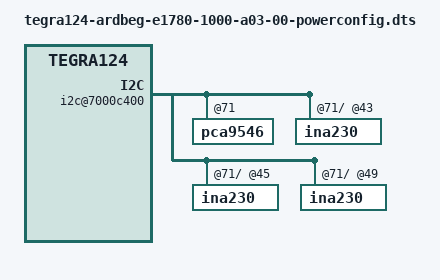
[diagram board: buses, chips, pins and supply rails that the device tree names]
#include "tegra124-ardbeg-e1780-1000-a03-00.dts"

/ {
	nvidia,dtsfilename = __FILE__;

	i2c@7000c400 {
		pca9546@71 {
			i2c@1 {
				ina230@43{
					.resistor = <10>;
				};
				ina230@45{
					.resistor = <10>;
				};
				ina230@49{
					.resistor = <10>;
				};
			};
		};
	};
};
